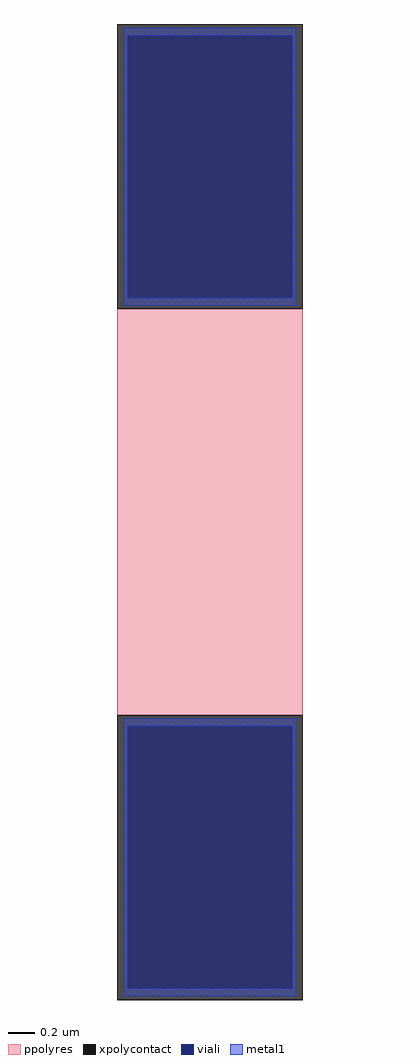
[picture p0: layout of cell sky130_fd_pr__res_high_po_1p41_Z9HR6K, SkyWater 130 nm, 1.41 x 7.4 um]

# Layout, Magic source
magic
tech sky130A
magscale 1 2
<< xpolycontact >>
rect -141 308 141 740
rect -141 -740 141 -308
<< ppolyres >>
rect -141 -308 141 308
<< viali >>
rect -125 325 125 722
rect -125 -722 125 -325
<< metal1 >>
rect -131 722 131 734
rect -131 325 -125 722
rect 125 325 131 722
rect -131 313 131 325
rect -131 -325 131 -313
rect -131 -722 -125 -325
rect 125 -722 131 -325
rect -131 -734 131 -722
<< properties >>
string gencell sky130_fd_pr__res_high_po_1p41
string library sky130
string parameters w 1.410 l 3.235 m 1 nx 1 wmin 1.410 lmin 0.50 class resistor rho 319.8 val 1.01k dummy 0 dw 0.0 term 194.82 sterm 0.0 caplen 0 guard 0 glc 1 grc 1 gtc 1 gbc 1 compatible {sky130_fd_pr__res_high_po_0p35  sky130_fd_pr__res_high_po_0p69 sky130_fd_pr__res_high_po_1p41  sky130_fd_pr__res_high_po_2p85 sky130_fd_pr__res_high_po_5p73} snake 0 full_metal 1 wmax 1.410 n_guard 0 hv_guard 0 vias 1 viagb 0 viagt 0 viagl 0 viagr 0
<< end >>
